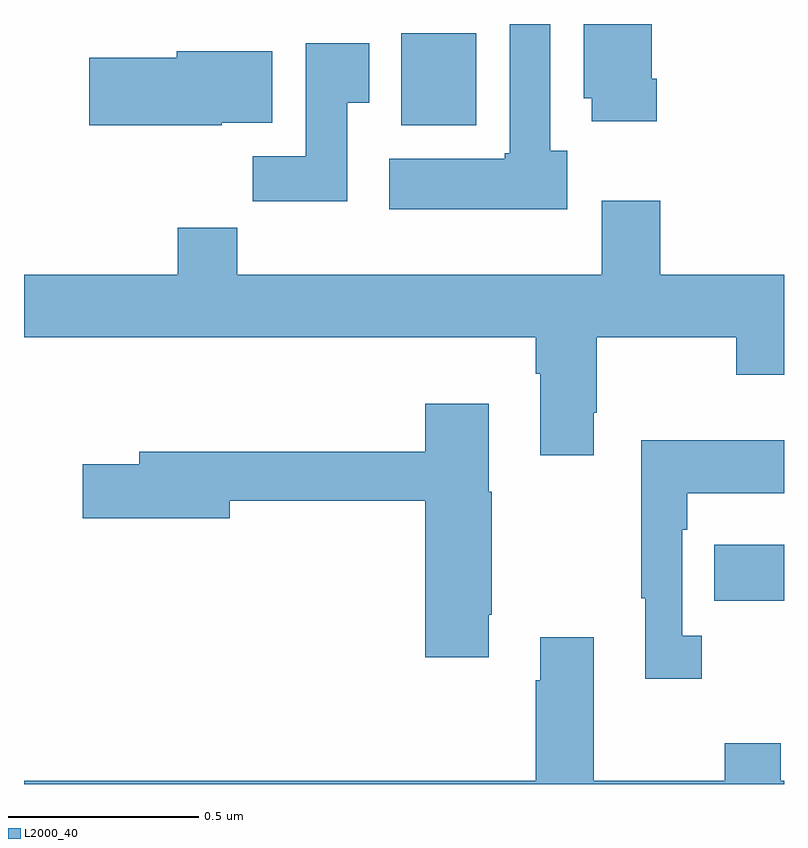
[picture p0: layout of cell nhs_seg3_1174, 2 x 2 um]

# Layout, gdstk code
import gdstk
lib = gdstk.Library(unit=1e-6, precision=1e-09)
def R(c, l, rs):  # rectangles x0, y0, x1, y1
    for r in rs: c.add(gdstk.rectangle(r[:2], r[2:], *l))
def P(c, l, *ps):  # polygons
    for p in ps: c.add(gdstk.Polygon(p, *l))
L2000_40 = (2000, 40)

nhs_seg3_1174 = lib.new_cell('nhs_seg3_1174')
R(nhs_seg3_1174, L2000_40, [(126.817,706.882,127,707.029), (125.993,708.134,126.19,708.376)])
P(nhs_seg3_1174, L2000_40, [(126.43,708.066),(126.385,708.066),(126.385,708.4),(126.278,708.4),(126.278,708.06),(126.265,708.06),(126.265,708.046),(125.961,708.046),(125.961,707.912),(126.43,707.912)],
  [(126.665,708.256),(126.652,708.256),(126.652,708.4),(126.473,708.4),(126.473,708.204),(126.494,708.204),(126.494,708.144),(126.665,708.144)],
  [(125.851,708.193),(125.908,708.193),(125.908,708.349),(125.741,708.349),(125.741,708.052),(125.602,708.052),(125.602,707.934),(125.851,707.934)],
  [(125.52,708.14),(125.653,708.14),(125.653,708.328),(125.402,708.328),(125.402,708.311),(125.172,708.311),(125.172,708.134),(125.52,708.134)],
  [(126.499,707.377),(126.507,707.377),(126.507,707.576),(126.874,707.576),(126.874,707.477),(127,707.477),(127,707.74),(126.674,707.74),(126.674,707.935),(126.521,707.935),(126.521,707.74),(125.561,707.74),(125.561,707.864),(125.405,707.864),(125.405,707.74),(125,707.74),(125,707.576),(126.347,707.576),(126.347,707.48),(126.359,707.48),(126.359,707.265),(126.499,707.265)],
  [(126.223,706.846),(126.231,706.846),(126.231,707.169),(126.223,707.169),(126.223,707.401),(126.056,707.401),(126.056,707.275),(125.303,707.275),(125.303,707.241),(125.154,707.241),(125.154,707.099),(125.542,707.099),(125.542,707.146),(126.056,707.146),(126.056,706.734),(126.223,706.734)],
  [(126.784,706.79),(126.732,706.79),(126.732,707.069),(126.745,707.069),(126.745,707.165),(127,707.165),(127,707.305),(126.624,707.305),(126.624,706.889),(126.635,706.889),(126.635,706.677),(126.784,706.677)],
  [(127,706.408),(126.991,706.408),(126.991,706.507),(126.844,706.507),(126.844,706.408),(126.499,706.408),(126.499,706.786),(126.359,706.786),(126.359,706.673),(126.347,706.673),(126.347,706.408),(125,706.408),(125,706.4),(127,706.4)])

lib.write_gds('nhs_seg3_1174.gds')
